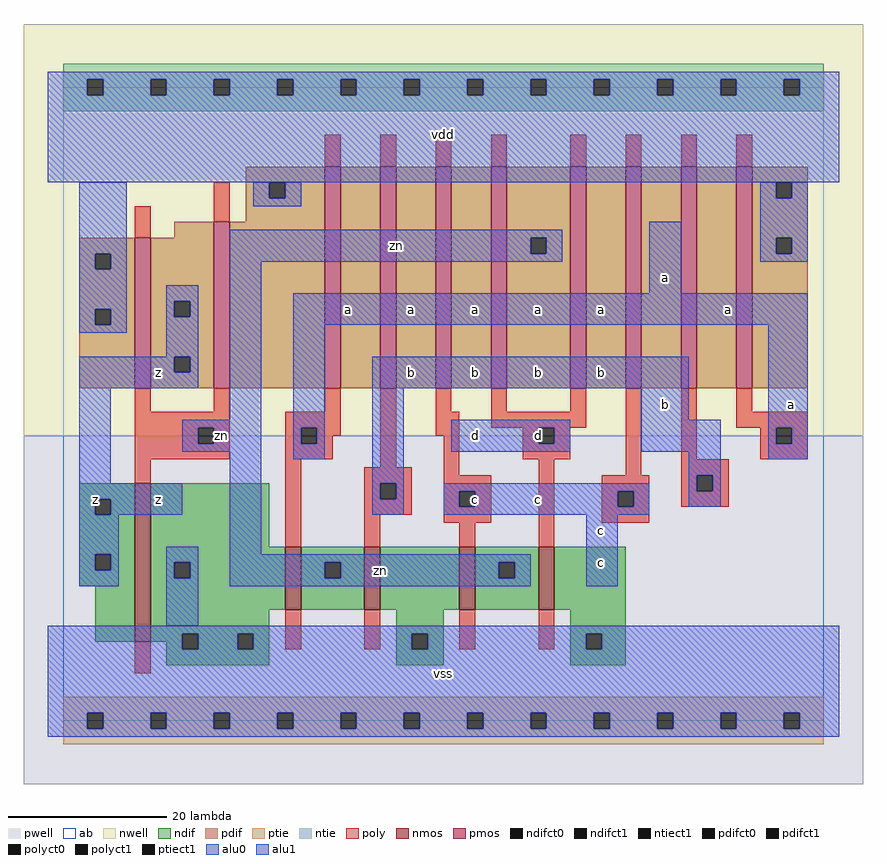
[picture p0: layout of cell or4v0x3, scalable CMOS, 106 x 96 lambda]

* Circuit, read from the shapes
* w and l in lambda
.subckt or4v0x3 a b c d vdd vss z zn
M1 vss zn z vss nfet w=20 l=2
M2 zn a vss vss nfet w=8 l=2
M3 vss b zn vss nfet w=8 l=2
M4 zn c vss vss nfet w=8 l=2
M5 vss d zn vss nfet w=8 l=2
M6 z zn vdd vdd pfet w=19 l=2
M7 vdd zn z vdd pfet w=21 l=2
M8 n1 a vdd vdd pfet w=28 l=2
M9 n2 b n1 vdd pfet w=28 l=2
M10 n3 c n2 vdd pfet w=28 l=2
M11 zn d n3 vdd pfet w=28 l=2
M12 n4 d zn vdd pfet w=28 l=2
M13 n5 c n4 vdd pfet w=28 l=2
M14 n6 b n5 vdd pfet w=28 l=2
M15 vdd a n6 vdd pfet w=28 l=2
.ends

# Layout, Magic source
magic
tech scmos
<< ab >>
rect 0 0 96 80
<< nwell >>
rect -5 36 101 88
<< pwell >>
rect -5 -8 101 36
<< poly >>
rect 33 70 35 74
rect 40 70 42 74
rect 47 70 49 74
rect 54 70 56 74
rect 64 70 66 74
rect 71 70 73 74
rect 78 70 80 74
rect 85 70 87 74
rect 9 61 11 65
rect 19 63 21 68
rect 9 39 11 42
rect 19 39 21 42
rect 33 39 35 42
rect 9 37 21 39
rect 9 35 17 37
rect 19 35 21 37
rect 9 33 21 35
rect 28 37 35 39
rect 28 35 30 37
rect 32 36 35 37
rect 32 35 34 36
rect 28 33 34 35
rect 9 30 11 33
rect 28 22 30 33
rect 40 32 42 42
rect 47 39 49 42
rect 54 39 56 42
rect 64 39 66 42
rect 47 36 50 39
rect 54 37 66 39
rect 38 30 44 32
rect 38 28 40 30
rect 42 28 44 30
rect 38 26 44 28
rect 48 31 50 36
rect 58 35 60 37
rect 62 35 64 37
rect 58 33 64 35
rect 48 29 54 31
rect 48 27 50 29
rect 52 27 54 29
rect 38 22 40 26
rect 48 25 54 27
rect 50 22 52 25
rect 60 22 62 33
rect 71 31 73 42
rect 78 33 80 42
rect 85 39 87 42
rect 85 37 94 39
rect 88 35 90 37
rect 92 35 94 37
rect 88 33 94 35
rect 78 31 84 33
rect 68 29 74 31
rect 68 27 70 29
rect 72 27 74 29
rect 78 29 80 31
rect 82 29 84 31
rect 78 27 84 29
rect 68 25 74 27
rect 9 6 11 10
rect 28 9 30 14
rect 38 9 40 14
rect 50 9 52 14
rect 60 9 62 14
<< ndif >>
rect 2 28 9 30
rect 2 26 4 28
rect 6 26 9 28
rect 2 21 9 26
rect 2 19 4 21
rect 6 19 9 21
rect 2 17 9 19
rect 4 10 9 17
rect 11 22 26 30
rect 11 20 28 22
rect 11 18 14 20
rect 16 18 28 20
rect 11 14 28 18
rect 30 20 38 22
rect 30 18 33 20
rect 35 18 38 20
rect 30 14 38 18
rect 40 14 50 22
rect 52 20 60 22
rect 52 18 55 20
rect 57 18 60 20
rect 52 14 60 18
rect 62 14 71 22
rect 11 11 26 14
rect 11 10 15 11
rect 13 9 15 10
rect 17 9 22 11
rect 24 9 26 11
rect 42 11 48 14
rect 42 9 44 11
rect 46 9 48 11
rect 64 11 71 14
rect 64 9 66 11
rect 68 9 71 11
rect 13 7 26 9
rect 42 7 48 9
rect 64 7 71 9
<< pdif >>
rect 23 68 33 70
rect 23 66 26 68
rect 28 66 33 68
rect 23 63 33 66
rect 14 61 19 63
rect 2 59 9 61
rect 2 57 4 59
rect 6 57 9 59
rect 2 52 9 57
rect 2 50 4 52
rect 6 50 9 52
rect 2 42 9 50
rect 11 53 19 61
rect 11 51 14 53
rect 16 51 19 53
rect 11 46 19 51
rect 11 44 14 46
rect 16 44 19 46
rect 11 42 19 44
rect 21 42 33 63
rect 35 42 40 70
rect 42 42 47 70
rect 49 42 54 70
rect 56 61 64 70
rect 56 59 59 61
rect 61 59 64 61
rect 56 42 64 59
rect 66 42 71 70
rect 73 42 78 70
rect 80 42 85 70
rect 87 68 94 70
rect 87 66 90 68
rect 92 66 94 68
rect 87 61 94 66
rect 87 59 90 61
rect 92 59 94 61
rect 87 42 94 59
<< alu1 >>
rect -2 81 98 82
rect -2 79 3 81
rect 5 79 11 81
rect 13 79 19 81
rect 21 79 27 81
rect 29 79 35 81
rect 37 79 43 81
rect 45 79 51 81
rect 53 79 59 81
rect 61 79 67 81
rect 69 79 75 81
rect 77 79 83 81
rect 85 79 91 81
rect 93 79 98 81
rect -2 68 98 79
rect 13 53 17 55
rect 13 51 14 53
rect 16 51 17 53
rect 13 46 17 51
rect 2 44 14 46
rect 16 44 17 46
rect 2 42 17 44
rect 2 30 6 42
rect 74 54 78 63
rect 2 28 15 30
rect 2 26 4 28
rect 6 26 15 28
rect 2 21 7 26
rect 2 19 4 21
rect 6 19 7 21
rect 2 17 7 19
rect 29 50 94 54
rect 29 37 33 50
rect 29 35 30 37
rect 32 35 33 37
rect 29 33 33 35
rect 39 42 79 46
rect 39 30 43 42
rect 73 38 79 42
rect 49 37 64 38
rect 49 35 60 37
rect 62 35 64 37
rect 49 34 64 35
rect 73 34 83 38
rect 79 31 83 34
rect 89 37 94 50
rect 89 35 90 37
rect 92 35 94 37
rect 89 33 94 35
rect 39 28 40 30
rect 42 28 43 30
rect 39 26 43 28
rect 48 29 74 30
rect 48 27 50 29
rect 52 27 70 29
rect 72 27 74 29
rect 79 29 80 31
rect 82 29 83 31
rect 79 27 83 29
rect 48 26 74 27
rect 66 17 70 26
rect -2 11 98 12
rect -2 9 15 11
rect 17 9 22 11
rect 24 9 44 11
rect 46 9 66 11
rect 68 9 98 11
rect -2 1 98 9
rect -2 -1 3 1
rect 5 -1 11 1
rect 13 -1 19 1
rect 21 -1 27 1
rect 29 -1 35 1
rect 37 -1 43 1
rect 45 -1 51 1
rect 53 -1 59 1
rect 61 -1 67 1
rect 69 -1 75 1
rect 77 -1 83 1
rect 85 -1 91 1
rect 93 -1 98 1
rect -2 -2 98 -1
<< ptie >>
rect 0 1 96 3
rect 0 -1 3 1
rect 5 -1 11 1
rect 13 -1 19 1
rect 21 -1 27 1
rect 29 -1 35 1
rect 37 -1 43 1
rect 45 -1 51 1
rect 53 -1 59 1
rect 61 -1 67 1
rect 69 -1 75 1
rect 77 -1 83 1
rect 85 -1 91 1
rect 93 -1 96 1
rect 0 -3 96 -1
<< ntie >>
rect 0 81 96 83
rect 0 79 3 81
rect 5 79 11 81
rect 13 79 19 81
rect 21 79 27 81
rect 29 79 35 81
rect 37 79 43 81
rect 45 79 51 81
rect 53 79 59 81
rect 61 79 67 81
rect 69 79 75 81
rect 77 79 83 81
rect 85 79 91 81
rect 93 79 96 81
rect 0 77 96 79
<< nmos >>
rect 9 10 11 30
rect 28 14 30 22
rect 38 14 40 22
rect 50 14 52 22
rect 60 14 62 22
<< pmos >>
rect 9 42 11 61
rect 19 42 21 63
rect 33 42 35 70
rect 40 42 42 70
rect 47 42 49 70
rect 54 42 56 70
rect 64 42 66 70
rect 71 42 73 70
rect 78 42 80 70
rect 85 42 87 70
<< polyct0 >>
rect 17 35 19 37
<< polyct1 >>
rect 30 35 32 37
rect 40 28 42 30
rect 60 35 62 37
rect 50 27 52 29
rect 90 35 92 37
rect 70 27 72 29
rect 80 29 82 31
<< ndifct0 >>
rect 14 18 16 20
rect 33 18 35 20
rect 55 18 57 20
<< ndifct1 >>
rect 4 26 6 28
rect 4 19 6 21
rect 15 9 17 11
rect 22 9 24 11
rect 44 9 46 11
rect 66 9 68 11
<< ntiect1 >>
rect 3 79 5 81
rect 11 79 13 81
rect 19 79 21 81
rect 27 79 29 81
rect 35 79 37 81
rect 43 79 45 81
rect 51 79 53 81
rect 59 79 61 81
rect 67 79 69 81
rect 75 79 77 81
rect 83 79 85 81
rect 91 79 93 81
<< ptiect1 >>
rect 3 -1 5 1
rect 11 -1 13 1
rect 19 -1 21 1
rect 27 -1 29 1
rect 35 -1 37 1
rect 43 -1 45 1
rect 51 -1 53 1
rect 59 -1 61 1
rect 67 -1 69 1
rect 75 -1 77 1
rect 83 -1 85 1
rect 91 -1 93 1
<< pdifct0 >>
rect 26 66 28 68
rect 4 57 6 59
rect 4 50 6 52
rect 59 59 61 61
rect 90 66 92 68
rect 90 59 92 61
<< pdifct1 >>
rect 14 51 16 53
rect 14 44 16 46
<< alu0 >>
rect 2 59 8 68
rect 24 66 26 68
rect 28 66 30 68
rect 24 65 30 66
rect 88 66 90 68
rect 92 66 94 68
rect 2 57 4 59
rect 6 57 8 59
rect 2 52 8 57
rect 21 61 63 62
rect 21 59 59 61
rect 61 59 63 61
rect 21 58 63 59
rect 2 50 4 52
rect 6 50 8 52
rect 2 49 8 50
rect 21 38 25 58
rect 88 61 94 66
rect 88 59 90 61
rect 92 59 94 61
rect 88 58 94 59
rect 15 37 25 38
rect 15 35 17 37
rect 19 35 25 37
rect 15 34 25 35
rect 13 20 17 22
rect 13 18 14 20
rect 16 18 17 20
rect 13 12 17 18
rect 21 21 25 34
rect 21 20 59 21
rect 21 18 33 20
rect 35 18 55 20
rect 57 18 59 20
rect 21 17 59 18
<< labels >>
rlabel alu0 20 36 20 36 6 zn
rlabel alu0 40 19 40 19 6 zn
rlabel alu0 42 60 42 60 6 zn
rlabel alu1 4 28 4 28 6 z
rlabel alu1 12 28 12 28 6 z
rlabel alu1 12 44 12 44 6 z
rlabel alu1 48 6 48 6 6 vss
rlabel alu1 52 28 52 28 6 c
rlabel alu1 44 44 44 44 6 b
rlabel alu1 52 36 52 36 6 d
rlabel alu1 52 44 52 44 6 b
rlabel alu1 44 52 44 52 6 a
rlabel alu1 52 52 52 52 6 a
rlabel alu1 36 52 36 52 6 a
rlabel alu1 48 74 48 74 6 vdd
rlabel alu1 60 28 60 28 6 c
rlabel alu1 68 20 68 20 6 c
rlabel alu1 68 24 68 24 6 c
rlabel alu1 60 36 60 36 6 d
rlabel alu1 60 44 60 44 6 b
rlabel alu1 68 44 68 44 6 b
rlabel alu1 76 40 76 40 6 b
rlabel alu1 68 52 68 52 6 a
rlabel alu1 60 52 60 52 6 a
rlabel alu1 76 56 76 56 6 a
rlabel alu1 92 40 92 40 6 a
rlabel alu1 84 52 84 52 6 a
<< end >>
